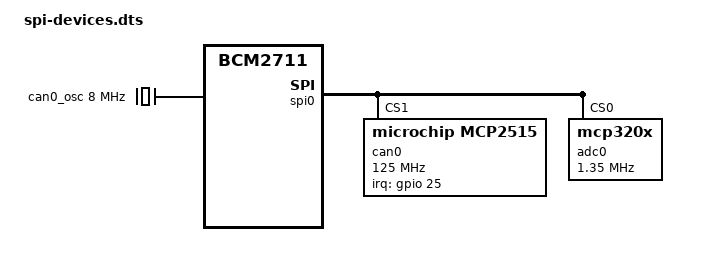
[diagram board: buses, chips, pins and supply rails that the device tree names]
/*
 * Device Tree Overlay for SPI peripherals
 * Monitoring HAT — SPI0 bus devices
 */
/dts-v1/;

/ {
    compatible = "brcm,bcm2711";

    fragment@0 {
        target = <&spi0>;
        __overlay__ {

            can0: can@1 {
                compatible = "microchip,mcp2515";
                reg = <1>;
                spi-max-frequency = <125000000>;
                interrupt-parent = <&gpio>;
                interrupts = <25 0x1>
                clocks = <&can0_osc>;
            };

            adc0: adc@0 {
                compatible = "mcp320x";
                reg = <0>;
                spi-max-frequency = <1350000>;
            };
        };
    };

    fragment@1 {
        target-path = "/";
        __overlay__ {
            can0_osc: can0_osc {
                compatible = "fixed-clock";
                #clock-cells = <0>;
                clock-frequency = <8000000>;
            };
        };
    };
};
